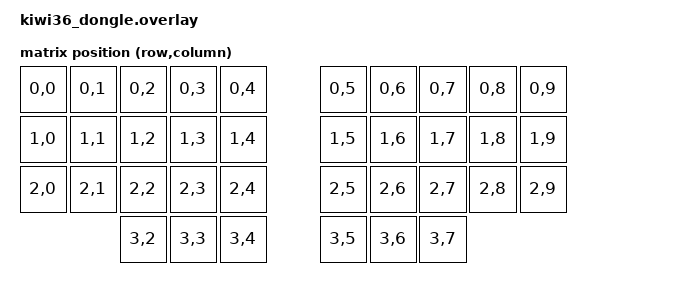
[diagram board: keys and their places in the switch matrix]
/*
 * Copyright (c) 2020 The ZMK Contributors
 *
 * SPDX-License-Identifier: MIT
 */

#include <dt-bindings/zmk/matrix_transform.h>
#include "kiwi36-layouts.dtsi"

&physical_layout0 {
    transform = <&default_transform>;
    // zmk,kscan = &mock_kscan;
};

/ {
    chosen {
        zmk,kscan = &mock_kscan;
        zmk,physical-layout = &physical_layout0;
    };

   default_transform: matrix_transform {
        compatible = "zmk,matrix-transform";
        columns = <10>;
        rows = <4>; 

 //         | SW1  | SW2   | SW3   | SW4   | SW5  |    | SW23  | SW22  | SW21 | SW20  | SW19  |
 //         | SW6  | SW7   | SW8   | SW9   | SW10 |    | SW28  | SW27  | SW26 | SW25  | SW24  |
 //         | SW11 | SW12  | SW13  | SW14  | SW15 |    | SW33  | SW32  | SW31 | SW30  | SW19  |
 //                        | SW16  | SW17  | SW18 |    | SW36  | SW35  | SW34 |
       
        map = < 
            RC(0,0) RC(0,1) RC(0,2) RC(0,3) RC(0,4)     RC(0,5) RC(0,6) RC(0,7) RC(0,8) RC(0,9) 
            RC(1,0) RC(1,1) RC(1,2) RC(1,3) RC(1,4)     RC(1,5) RC(1,6) RC(1,7) RC(1,8) RC(1,9) 
            RC(2,0) RC(2,1) RC(2,2) RC(2,3) RC(2,4)     RC(2,5) RC(2,6) RC(2,7) RC(2,8) RC(2,9) 
                            RC(3,2) RC(3,3) RC(3,4)     RC(3,5) RC(3,6) RC(3,7)
    >;
        
    };

    mock_kscan: kscan0 {
        compatible = "zmk,kscan-mock";
        columns = <0>;
        rows = <0>;
        events = <0>;
    };
    
};
